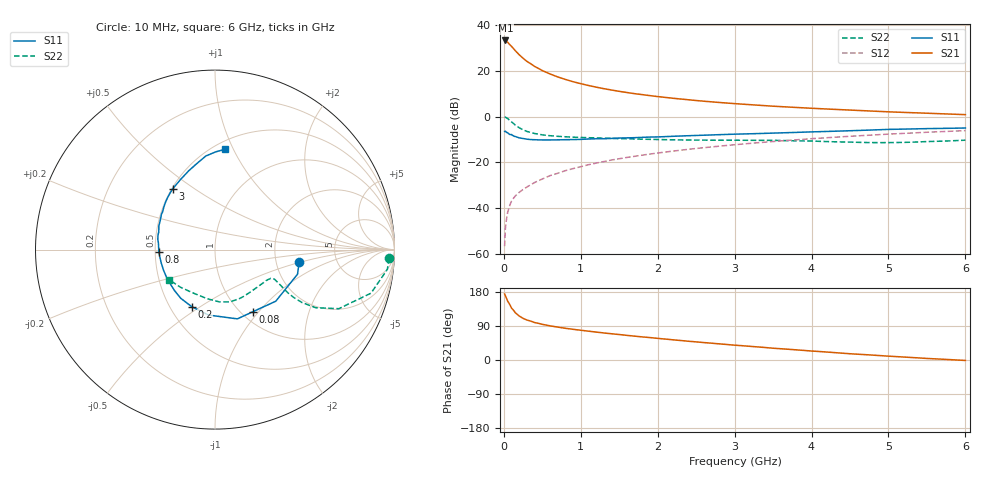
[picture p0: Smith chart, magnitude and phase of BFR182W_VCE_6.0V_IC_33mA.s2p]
! (c) 2017  Infineon Technologies AG, Munich
! Infineon Technologies  Discrete & RF Semiconductors
! BFR182W
! VCE =  6.0 V,  IC =  33 mA
! Common Emitter S-Parameters:  Jan 2017
# GHz  S  MA  R  50
!  f  S11  S21  S12  S22
! GHz  MAG  ANG  MAG  ANG  MAG  ANG  MAG  ANG
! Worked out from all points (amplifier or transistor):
!   77 points, 10 MHz to 6 GHz, reference 50 ohm
!   highest |S21| = 33.1 dB at 20 MHz (marker M1)
!   |S21| within 3 dB of that: start of sweep to 111.4 MHz
!   unconditionally stable (mu >= 1): 638.6 MHz to 2.225 GHz
!   at 130 MHz: K = 0.52, MSG = 32.4 dB, |S12| = -35.4 dB
!   at 2.2 GHz: K = 1.00, MAG = 11.2 dB, |S12| = -15.1 dB
!   at 6 GHz: K = 0.86, MSG = 3.5 dB, |S12| = -6.2 dB
!   S11 on the Smith chart (normalised r, x): 10 MHz: 2.71, -0.47; 80 MHz: 1.12, -0.93; 200 MHz: 0.64, -0.46; 800 MHz: 0.52, -0.02; 3 GHz: 0.51, +0.41; 6 GHz: 0.57, +0.93
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0.01  0.4738 -8.1  45.18 174.2  0.0015 80.6  0.971 -2.8
0.02  0.4798 -16.6  45.33 169.4  0.0036 86.7  0.9668 -6.5
0.05  0.4443 -40.3  41.4 155.2  0.0082 73.7  0.9027 -15.6
0.08  0.4053 -58.7  36.33 145.1  0.0119 70.9  0.8169 -21.1
0.1  0.4055 -72.1  33.73 136.9  0.0144 69.8  0.7648 -25.5
0.15  0.3665 -95.6  27.06 124.5  0.0187 66.4  0.6477 -30.0
0.2  0.3431 -112.3  22.11 116.1  0.0223 67.4  0.568 -31.3
0.25  0.3317 -125.1  18.57 109.9  0.0258 66.6  0.5129 -31.3
0.3  0.3211 -134.6  15.87 105.5  0.0291 66.5  0.4729 -30.7
0.4  0.3124 -148.6  12.32 98.8  0.0364 69.9  0.4263 -29.0
0.5  0.3088 -158.3  10.01 94.1  0.0436 71.2  0.3987 -27.8
0.6  0.3087 -166.2  8.448 90.2  0.0515 71.8  0.3818 -27.0
0.7  0.3102 -172.4  7.289 86.8  0.058 73.1  0.3705 -26.5
0.8  0.313 -177.5  6.423 83.7  0.0662 73.6  0.3621 -26.6
1.1  0.3238 169.7  4.739 76.1  0.0892 73.5  0.3457 -28.2
1.5  0.3396 157.1  3.532 67.2  0.1203 72.0  0.3296 -32.7
2.1  0.3648 142.3  2.605 55.2  0.1682 68.7  0.3129 -43.4
3  0.4124 124.8  1.909 39.1  0.2429 62.1  0.3051 -63.5
3.1  0.4162 123.0  1.86 37.7  0.2513 61.2  0.3039 -65.6
4.1  0.4676 107.1  1.484 22.4  0.3368 52.2  0.2882 -87.7
5.1  0.5278 94.3  1.247 9.0  0.421 42.4  0.2712 -119.0
6  0.5616 84.3  1.098 -1.2  0.4926 33.0  0.3051 -146.5
